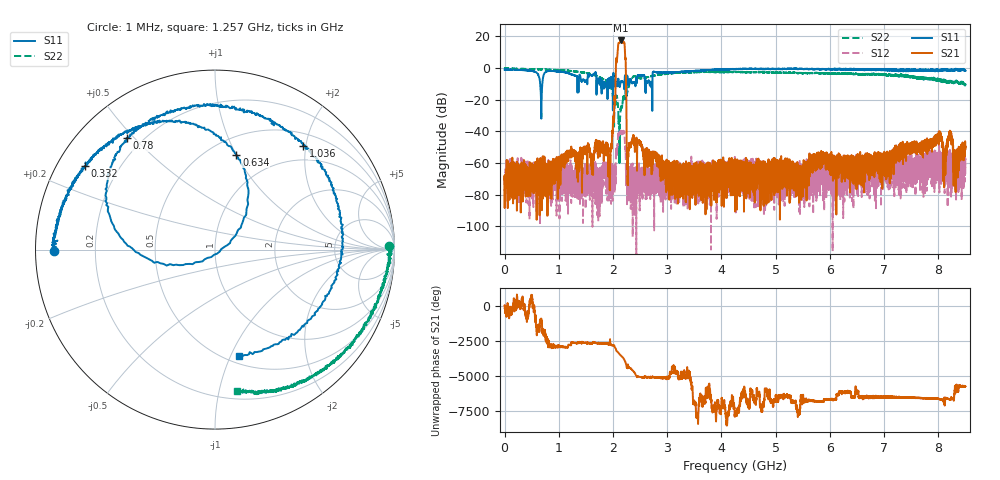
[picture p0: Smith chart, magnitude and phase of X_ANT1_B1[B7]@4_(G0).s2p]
#  HZ  S  RI  R  50.00
! Rohde & Schwarz Vector Network Analyzer
! Rohde-Schwarz,ZNBT8-20Port,1318700624101681,3.50
! Created: UTC 7/15/2025, 2:13:48 PM
! freq[Hz]  re:S1010  im:S1010  re:S0410  im:S0410  re:S1004  im:S1004  re:S44  im:S44
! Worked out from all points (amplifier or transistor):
!   8500 points, 1 MHz to 8.5 GHz, reference 50 ohm
!   highest |S21| = 17.4 dB at 2.14 GHz (marker M1)
!   |S21| within 3 dB of that: 2.095 GHz to 2.215 GHz (119.9 MHz wide, 5.56 % of centre)
!   unconditionally stable (mu >= 1): start of sweep to end of sweep
!   at 1.417 GHz: K = 221848.12, MAG = -52.5 dB, |S12| = -64.6 dB
!   at 4.251 GHz: K = 341593.19, MAG = -59.5 dB, |S12| = -69.1 dB
!   at 8.5 GHz: K = 62159.97, MAG = -44.4 dB, |S12| = -62.9 dB
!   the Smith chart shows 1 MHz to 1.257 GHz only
!   S11 on the Smith chart (normalised r, x): 1 MHz: 0.05, -0.00; 332 MHz: 0.08, +0.29; 634 MHz: 0.67, +1.00; 780 MHz: 0.14, +0.48; 1.036 GHz: 0.72, +1.96; 1.257 GHz: 0.57, -1.07
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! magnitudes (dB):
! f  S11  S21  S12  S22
! 1 MHz  -0.9  -70.5  -73.9  -0.3
! 332 MHz  -1.3  -69.8  -69.2  -0.5
! 634 MHz  -5.3  -64.8  -69.3  -0.8
! 780 MHz  -2.0  -62.7  -78.7  -0.9
! 1.036 GHz  -2.4  -58.1  -65.8  -1.4
! 1.257 GHz  -4.3  -55.9  -75.4  -2.0
! 1.418 GHz  -8.3  -56.3  -74.0  -2.7
! 1.947 GHz  -11.0  -60.0  -73.1  -11.0
! 2.008 GHz  -3.1  -31.4  -73.5  -23.4
! 2.088 GHz  -9.0  11.4  -45.6  -22.0
! 2.14 GHz  -9.2  17.4  -40.0  -26.1
! 2.205 GHz  -11.8  16.1  -41.0  -17.4
! 2.292 GHz  -10.6  -50.6  -76.0  -11.5
! 2.834 GHz  -2.8  -54.6  -74.9  -4.3
! 4.251 GHz  -0.7  -71.4  -69.1  -2.6
! 5.667 GHz  -0.4  -63.7  -63.6  -3.1
! 7.084 GHz  -1.0  -56.5  -58.3  -4.4
! 8.005 GHz  -1.5  -43.0  -61.6  -7.3
! 8.123 GHz  -1.4  -52.4  -67.1  -8.0
! 8.227 GHz  -1.2  -42.1  -61.3  -8.7
! 8.317 GHz  -1.1  -63.3  -54.7  -8.8
! 8.5 GHz  -1.7  -49.7  -62.9  -10.0
